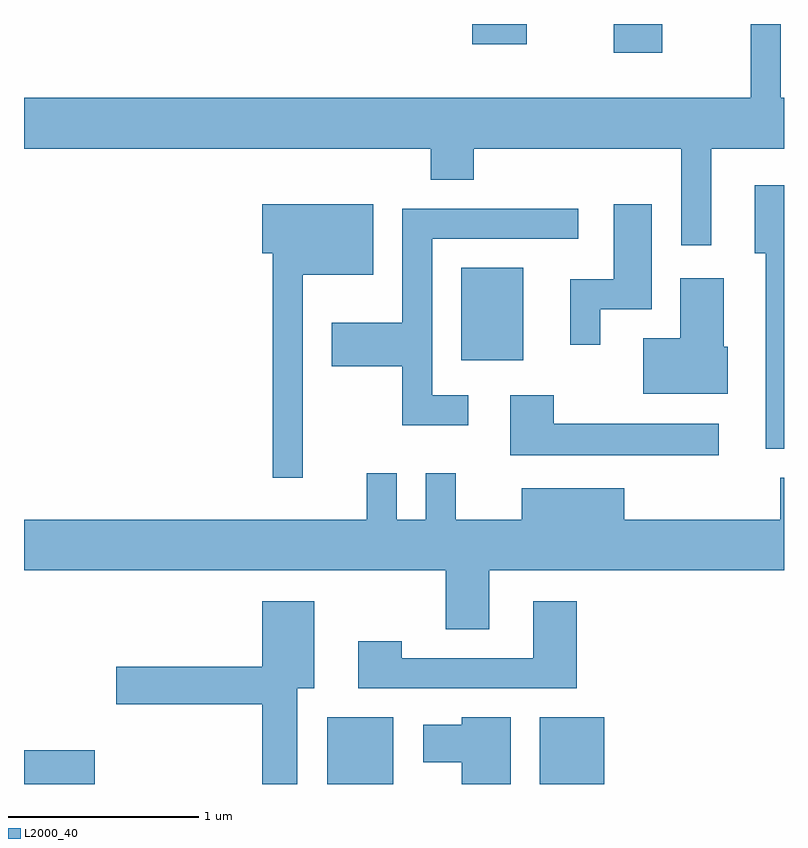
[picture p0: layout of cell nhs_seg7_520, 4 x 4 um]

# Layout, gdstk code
import gdstk
lib = gdstk.Library(unit=1e-6, precision=1e-09)
def R(c, l, rs):  # rectangles x0, y0, x1, y1
    for r in rs: c.add(gdstk.rectangle(r[:2], r[2:], *l))
def P(c, l, *ps):  # polygons
    for p in ps: c.add(gdstk.Polygon(p, *l))
L2000_40 = (2000, 40)

nhs_seg7_520 = lib.new_cell('nhs_seg7_520')
R(nhs_seg7_520, L2000_40, [(199.611,1764.252,199.984,1764.429), (201.206,1764.252,201.554,1764.604), (202.326,1764.252,202.664,1764.604), (201.911,1766.481,202.239,1766.969), (202.716,1768.101,202.969,1768.252), (201.971,1768.146,202.258,1768.252)])
P(nhs_seg7_520, L2000_40, [(203.229,1767.596),(203.611,1767.596),(203.611,1767.864),(203.594,1767.864),(203.594,1768.252),(203.436,1768.252),(203.436,1767.864),(199.611,1767.864),(199.611,1767.596),(201.751,1767.596),(201.751,1767.431),(201.979,1767.431),(201.979,1767.596),(203.071,1767.596),(203.071,1767.088),(203.229,1767.088)],
  [(203.611,1767.404),(203.456,1767.404),(203.456,1767.046),(203.516,1767.046),(203.516,1766.016),(203.611,1766.016)],
  [(201.079,1766.931),(201.449,1766.931),(201.449,1767.304),(200.866,1767.304),(200.866,1767.046),(200.921,1767.046),(200.921,1765.863),(201.079,1765.863)],
  [(202.644,1766.751),(202.914,1766.751),(202.914,1767.304),(202.716,1767.304),(202.716,1766.909),(202.486,1766.909),(202.486,1766.563),(202.644,1766.563)],
  [(201.948,1766.299),(201.759,1766.299),(201.759,1767.121),(202.528,1767.121),(202.528,1767.279),(201.601,1767.279),(201.601,1766.679),(201.231,1766.679),(201.231,1766.451),(201.601,1766.451),(201.601,1766.141),(201.948,1766.141)],
  [(203.314,1766.554),(203.294,1766.554),(203.294,1766.914),(203.066,1766.914),(203.066,1766.599),(202.871,1766.599),(202.871,1766.306),(203.314,1766.306)],
  [(203.268,1766.149),(202.399,1766.149),(202.399,1766.299),(202.171,1766.299),(202.171,1765.981),(203.268,1765.981)],
  [(202.059,1765.376),(203.611,1765.376),(203.611,1765.864),(203.591,1765.864),(203.591,1765.644),(202.769,1765.644),(202.769,1765.809),(202.231,1765.809),(202.231,1765.644),(201.884,1765.644),(201.884,1765.888),(201.726,1765.888),(201.726,1765.644),(201.574,1765.644),(201.574,1765.888),(201.416,1765.888),(201.416,1765.644),(199.611,1765.644),(199.611,1765.376),(201.831,1765.376),(201.831,1765.066),(202.059,1765.066)],
  [(202.519,1765.214),(202.291,1765.214),(202.291,1764.914),(201.599,1764.914),(201.599,1765.004),(201.371,1765.004),(201.371,1764.756),(202.519,1764.756)],
  [(201.049,1764.756),(201.139,1764.756),(201.139,1765.214),(200.866,1765.214),(200.866,1764.869),(200.096,1764.869),(200.096,1764.671),(200.866,1764.671),(200.866,1764.252),(201.049,1764.252)],
  [(202.174,1764.604),(201.916,1764.604),(201.916,1764.564),(201.711,1764.564),(201.711,1764.366),(201.916,1764.366),(201.916,1764.252),(202.174,1764.252)])

lib.write_gds('nhs_seg7_520.gds')
